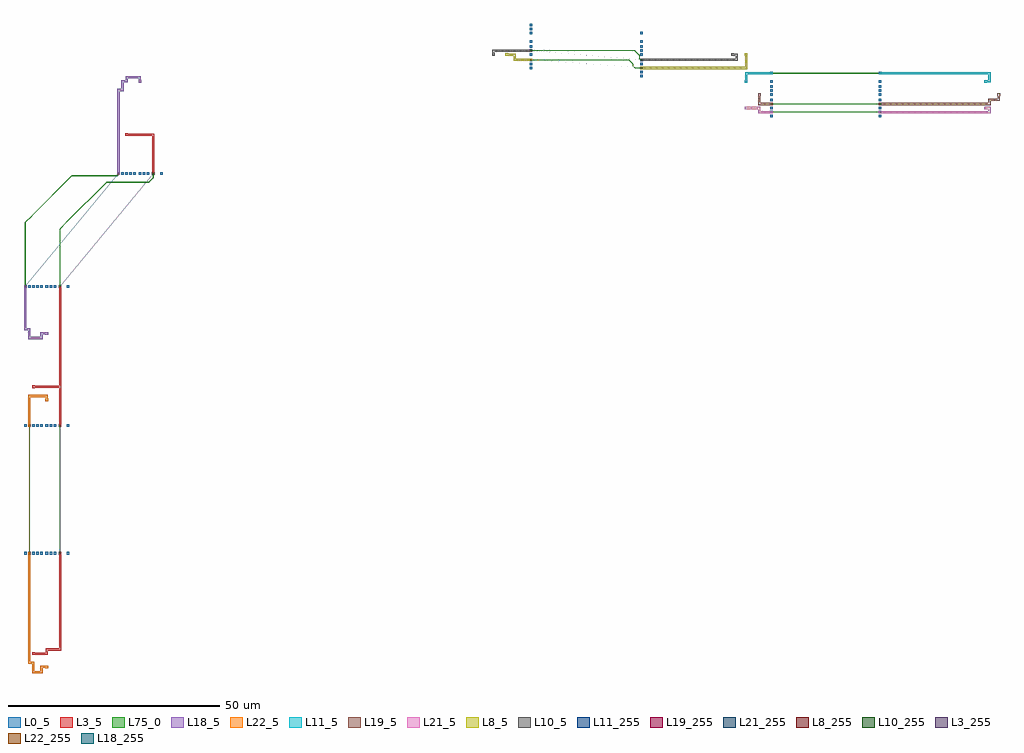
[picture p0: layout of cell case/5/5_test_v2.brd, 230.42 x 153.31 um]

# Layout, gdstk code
import gdstk
lib = gdstk.Library(unit=1e-6, precision=2.5e-10)
def R(c, l, rs):  # rectangles x0, y0, x1, y1
    for r in rs: c.add(gdstk.rectangle(r[:2], r[2:], *l))
def A(c, l, x, y, w, h, nx, ny, dx, dy):  # array of equal rectangles
    R(c, l, [(x+i*dx, y+j*dy, x+i*dx+w, y+j*dy+h) for i in range(nx) for j in range(ny)])
def P(c, l, *ps):  # polygons
    for p in ps: c.add(gdstk.Polygon(p, *l))
L0_5 = (0, 5)
L3_5 = (3, 5)
L3_255 = (3, 255)
L8_5 = (8, 5)
L8_255 = (8, 255)
L10_5 = (10, 5)
L10_255 = (10, 255)
L11_5 = (11, 5)
L11_255 = (11, 255)
L18_5 = (18, 5)
L18_255 = (18, 255)
L19_5 = (19, 5)
L19_255 = (19, 255)
L21_5 = (21, 5)
L21_255 = (21, 255)
L22_5 = (22, 5)
L22_255 = (22, 255)
L75_0 = (75, 0)

case_5_5_test_v2_brd = lib.new_cell('case/5/5_test_v2.brd')
R(case_5_5_test_v2_brd, L0_5, [(522.983,1470.593,523.583,1471.193), (522.983,1470.593,523.583,1471.193), (523.942,1470.593,524.542,1471.193), (523.942,1470.593,524.542,1471.193), (524.901,1470.593,525.501,1471.193), (524.901,1470.593,525.501,1471.193), (525.86,1470.593,526.46,1471.193), (525.86,1470.593,526.46,1471.193), (526.819,1470.593,527.419,1471.193), (526.819,1470.593,527.419,1471.193), (528.05,1470.593,528.65,1471.193), (528.05,1470.593,528.65,1471.193), (529.009,1470.593,529.609,1471.193), (529.009,1470.593,529.609,1471.193), (529.968,1470.593,530.568,1471.193), (529.968,1470.593,530.568,1471.193), (531.2,1470.593,531.8,1471.193), (531.2,1470.593,531.8,1471.193), (533.118,1470.593,533.718,1471.193), (533.118,1470.593,533.718,1471.193), (522.983,1500.725,523.583,1501.325), (522.983,1500.725,523.583,1501.325), (523.942,1500.725,524.542,1501.325), (523.942,1500.725,524.542,1501.325), (524.901,1500.725,525.501,1501.325), (524.901,1500.725,525.501,1501.325), (525.86,1500.725,526.46,1501.325), (525.86,1500.725,526.46,1501.325), (526.819,1500.725,527.419,1501.325), (526.819,1500.725,527.419,1501.325), (528.05,1500.725,528.65,1501.325), (528.05,1500.725,528.65,1501.325), (529.009,1500.725,529.609,1501.325), (529.009,1500.725,529.609,1501.325), (529.968,1500.725,530.568,1501.325), (529.968,1500.725,530.568,1501.325), (531.2,1500.725,531.8,1501.325), (531.2,1500.725,531.8,1501.325), (533.118,1500.725,533.718,1501.325), (533.118,1500.725,533.718,1501.325), (522.983,1533.593,523.583,1534.193), (522.983,1533.593,523.583,1534.193), (523.942,1533.593,524.542,1534.193), (523.942,1533.593,524.542,1534.193), (524.901,1533.593,525.501,1534.193), (524.901,1533.593,525.501,1534.193), (525.86,1533.593,526.46,1534.193), (525.86,1533.593,526.46,1534.193), (526.819,1533.593,527.419,1534.193), (526.819,1533.593,527.419,1534.193), (528.05,1533.593,528.65,1534.193), (528.05,1533.593,528.65,1534.193), (529.009,1533.593,529.609,1534.193), (529.009,1533.593,529.609,1534.193), (529.968,1533.593,530.568,1534.193), (529.968,1533.593,530.568,1534.193), (531.2,1533.593,531.8,1534.193), (531.2,1533.593,531.8,1534.193), (533.118,1533.593,533.718,1534.193), (533.118,1533.593,533.718,1534.193), (544.983,1560.225,545.583,1560.825), (544.983,1560.225,545.583,1560.825), (545.942,1560.225,546.542,1560.825), (545.942,1560.225,546.542,1560.825), (546.901,1560.225,547.501,1560.825), (546.901,1560.225,547.501,1560.825), (547.86,1560.225,548.46,1560.825), (547.86,1560.225,548.46,1560.825), (548.819,1560.225,549.419,1560.825), (548.819,1560.225,549.419,1560.825), (550.05,1560.225,550.65,1560.825), (550.05,1560.225,550.65,1560.825), (551.009,1560.225,551.609,1560.825), (551.009,1560.225,551.609,1560.825), (551.968,1560.225,552.568,1560.825), (551.968,1560.225,552.568,1560.825), (553.2,1560.225,553.8,1560.825), (553.2,1560.225,553.8,1560.825), (555.118,1560.225,555.718,1560.825), (555.118,1560.225,555.718,1560.825), (699.175,1573.782,699.775,1574.382), (699.175,1573.782,699.775,1574.382), (699.175,1573.782,699.775,1574.382), (724.725,1573.782,725.325,1574.382), (724.725,1573.782,725.325,1574.382), (724.725,1573.782,725.325,1574.382), (699.175,1574.741,699.775,1575.341), (699.175,1574.741,699.775,1575.341), (699.175,1574.741,699.775,1575.341), (724.725,1574.741,725.325,1575.341), (724.725,1574.741,725.325,1575.341), (724.725,1574.741,725.325,1575.341), (699.175,1575.7,699.775,1576.3), (699.175,1575.7,699.775,1576.3), (699.175,1575.7,699.775,1576.3), (724.725,1575.7,725.325,1576.3), (724.725,1575.7,725.325,1576.3), (724.725,1575.7,725.325,1576.3), (699.175,1576.659,699.775,1577.259), (699.175,1576.659,699.775,1577.259), (699.175,1576.659,699.775,1577.259), (724.725,1576.659,725.325,1577.259), (724.725,1576.659,725.325,1577.259), (724.725,1576.659,725.325,1577.259), (699.175,1577.618,699.775,1578.218), (699.175,1577.618,699.775,1578.218), (699.175,1577.618,699.775,1578.218), (724.725,1577.618,725.325,1578.218), (724.725,1577.618,725.325,1578.218), (724.725,1577.618,725.325,1578.218), (699.175,1578.85,699.775,1579.45), (699.175,1578.85,699.775,1579.45), (699.175,1578.85,699.775,1579.45), (724.725,1578.85,725.325,1579.45), (724.725,1578.85,725.325,1579.45), (724.725,1578.85,725.325,1579.45), (699.175,1579.809,699.775,1580.409), (699.175,1579.809,699.775,1580.409), (699.175,1579.809,699.775,1580.409), (724.725,1579.809,725.325,1580.409), (724.725,1579.809,725.325,1580.409), (724.725,1579.809,725.325,1580.409), (699.175,1580.768,699.775,1581.368), (699.175,1580.768,699.775,1581.368), (699.175,1580.768,699.775,1581.368), (724.725,1580.768,725.325,1581.368), (724.725,1580.768,725.325,1581.368), (724.725,1580.768,725.325,1581.368), (699.175,1581.999,699.775,1582.599), (699.175,1581.999,699.775,1582.599), (699.175,1581.999,699.775,1582.599), (724.725,1581.999,725.325,1582.599), (724.725,1581.999,725.325,1582.599), (724.725,1581.999,725.325,1582.599), (668.497,1583.231,669.097,1583.831), (668.497,1583.231,669.097,1583.831), (699.175,1583.917,699.775,1584.517), (699.175,1583.917,699.775,1584.517), (699.175,1583.917,699.775,1584.517), (724.725,1583.917,725.325,1584.517), (724.725,1583.917,725.325,1584.517), (724.725,1583.917,725.325,1584.517), (668.497,1584.19,669.097,1584.79), (668.497,1584.19,669.097,1584.79), (642.403,1585.149,643.003,1585.749), (642.403,1585.149,643.003,1585.749), (668.497,1585.149,669.097,1585.749), (668.497,1585.149,669.097,1585.749), (642.403,1586.108,643.003,1586.708), (642.403,1586.108,643.003,1586.708), (668.497,1586.108,669.097,1586.708), (668.497,1586.108,669.097,1586.708), (642.403,1587.067,643.003,1587.667), (642.403,1587.067,643.003,1587.667), (668.497,1587.067,669.097,1587.667), (668.497,1587.067,669.097,1587.667), (642.403,1588.298,643.003,1588.898), (642.403,1588.298,643.003,1588.898), (668.497,1588.298,669.097,1588.898), (668.497,1588.298,669.097,1588.898), (642.403,1589.257,643.003,1589.857), (642.403,1589.257,643.003,1589.857), (668.497,1589.257,669.097,1589.857), (668.497,1589.257,669.097,1589.857), (642.403,1590.216,643.003,1590.816), (642.403,1590.216,643.003,1590.816), (668.497,1590.216,669.097,1590.816), (668.497,1590.216,669.097,1590.816), (642.403,1591.448,643.003,1592.048), (642.403,1591.448,643.003,1592.048), (668.497,1591.448,669.097,1592.048), (668.497,1591.448,669.097,1592.048), (642.403,1593.366,643.003,1593.966), (642.403,1593.366,643.003,1593.966), (668.497,1593.366,669.097,1593.966), (668.497,1593.366,669.097,1593.966), (642.403,1594.325,643.003,1594.925), (642.403,1594.325,643.003,1594.925), (642.403,1595.284,643.003,1595.884), (642.403,1595.284,643.003,1595.884)])
A(case_5_5_test_v2_brd, L3_5, 531.25, 1447.91, 0.5, 1.459, 1, 11, 0, 0.959)
A(case_5_5_test_v2_brd, L3_5, 531.25, 1467.766, 0.5, 1.459, 1, 3, 0, 0.959)
A(case_5_5_test_v2_brd, L3_5, 531.25, 1500.775, 0.5, 1.459, 1, 5, 0, 0.959)
A(case_5_5_test_v2_brd, L3_5, 531.25, 1510.91, 0.5, 1.459, 1, 11, 0, 0.959)
A(case_5_5_test_v2_brd, L3_5, 531.25, 1530.766, 0.5, 1.459, 1, 3, 0, 0.959)
A(case_5_5_test_v2_brd, L3_5, 553.25, 1560.275, 0.5, 1.459, 1, 5, 0, 0.959)
R(case_5_5_test_v2_brd, L3_5, [(524.901,1446.901,525.501,1447.501), (524.951,1446.951,526.41,1447.451), (525.91,1446.951,527.369,1447.451), (526.869,1446.951,528.6,1447.451), (528.1,1446.951,528.6,1448.41), (528.1,1447.91,529.559,1448.41), (529.059,1447.91,530.518,1448.41), (530.018,1447.91,531.75,1448.41), (531.25,1458.459,531.75,1460.049), (531.25,1459.549,531.75,1461.008), (531.25,1460.508,531.75,1461.967), (531.25,1461.467,531.75,1463.199), (531.25,1462.699,531.75,1464.158), (531.25,1463.658,531.75,1465.117), (531.25,1464.617,531.75,1466.348), (531.25,1465.848,531.75,1468.266), (531.25,1505.57,531.75,1507.301), (531.25,1506.801,531.75,1508.26), (531.25,1507.76,531.75,1509.219), (531.25,1508.719,531.75,1510.451), (524.901,1509.901,525.501,1510.501), (524.901,1509.901,525.501,1510.501), (524.951,1509.951,526.41,1510.451), (525.91,1509.951,527.369,1510.451), (526.869,1509.951,528.6,1510.451), (528.1,1509.951,529.559,1510.451), (529.059,1509.951,530.518,1510.451), (530.018,1509.951,531.75,1510.451), (531.249,1509.951,531.749,1511.41), (531.25,1521.459,531.75,1523.049), (531.25,1522.549,531.75,1524.008), (531.25,1523.508,531.75,1524.967), (531.25,1524.467,531.75,1526.199), (531.25,1525.699,531.75,1527.158), (531.25,1526.658,531.75,1528.117), (531.25,1527.617,531.75,1529.348), (531.25,1528.848,531.75,1531.266), (553.25,1565.07,553.75,1566.801), (553.25,1566.301,553.75,1567.76), (553.25,1567.26,553.75,1568.719), (553.25,1568.219,553.75,1569.951), (546.901,1569.401,547.501,1570.001), (546.951,1569.451,548.41,1569.951), (547.91,1569.451,549.369,1569.951), (548.869,1569.451,550.6,1569.951), (550.1,1569.451,551.559,1569.951), (551.059,1569.451,552.518,1569.951), (552.018,1569.451,553.75,1569.951)])
P(case_5_5_test_v2_brd, L3_255, [(531.5,1533.893),(531.5,1533.893),(553.5,1560.525),(553.5,1560.525)],
  [(531.5,1470.893),(531.5,1501.025),(531.5,1501.025),(531.5,1470.893)])
A(case_5_5_test_v2_brd, L8_5, 668.547, 1585.199, 1.459, 0.5, 8, 1, 0.959, 0)
A(case_5_5_test_v2_brd, L8_5, 677.451, 1585.199, 1.459, 0.5, 12, 1, 0.959, 0)
A(case_5_5_test_v2_brd, L8_5, 638.617, 1587.117, 1.459, 0.5, 4, 1, 0.959, 0)
R(case_5_5_test_v2_brd, L8_5, [(676.219,1585.199,677.951,1585.699), (688.959,1585.199,690.549,1585.699), (690.049,1585.199,691.508,1585.699), (691.008,1585.199,692.467,1585.699), (691.967,1585.199,693.699,1585.699), (693.199,1585.199,693.699,1586.658), (693.199,1586.158,693.699,1587.617), (638.617,1587.117,639.117,1588.848), (693.199,1587.117,693.699,1588.848), (636.649,1588.298,637.249,1588.898), (693.149,1588.298,693.749,1588.898), (636.699,1588.348,639.117,1588.848)])
P(case_5_5_test_v2_brd, L8_255, [(668.797,1585.449),(668.797,1585.449),(642.703,1587.367),(642.703,1587.367)])
A(case_5_5_test_v2_brd, L10_5, 668.547, 1587.117, 1.459, 0.5, 8, 1, 0.959, 0)
A(case_5_5_test_v2_brd, L10_5, 677.451, 1587.117, 1.459, 0.5, 12, 1, 0.959, 0)
A(case_5_5_test_v2_brd, L10_5, 638.617, 1589.307, 1.459, 0.5, 4, 1, 0.959, 0)
R(case_5_5_test_v2_brd, L10_5, [(676.219,1587.117,677.951,1587.617), (688.959,1587.117,690.549,1587.617), (690.049,1587.117,691.508,1587.617), (691.008,1587.117,691.508,1588.848), (633.499,1588.298,634.099,1588.898), (689.999,1588.298,690.599,1588.898), (633.549,1588.348,634.049,1589.807), (690.049,1588.348,691.508,1588.848), (633.549,1589.307,635.008,1589.807), (634.508,1589.307,635.967,1589.807), (635.467,1589.307,637.199,1589.807), (636.699,1589.307,639.117,1589.807)])
P(case_5_5_test_v2_brd, L10_255, [(668.797,1587.367),(668.797,1587.367),(642.703,1589.557),(642.703,1589.557)])
A(case_5_5_test_v2_brd, L11_5, 724.775, 1583.967, 1.459, 0.5, 5, 1, 0.959, 0)
A(case_5_5_test_v2_brd, L11_5, 733.951, 1583.967, 1.459, 0.5, 12, 1, 0.959, 0)
R(case_5_5_test_v2_brd, L11_5, [(693.149,1581.999,693.749,1582.599), (749.649,1581.999,750.249,1582.599), (693.199,1582.049,693.699,1584.467), (749.699,1582.049,751.158,1582.549), (750.658,1582.049,751.158,1584.467), (693.199,1583.967,694.658,1584.467), (694.158,1583.967,695.617,1584.467), (695.117,1583.967,696.848,1584.467), (696.348,1583.967,698.766,1584.467), (698.266,1583.967,699.725,1584.467), (729.57,1583.967,731.301,1584.467), (730.801,1583.967,732.26,1584.467), (731.76,1583.967,733.219,1584.467), (732.719,1583.967,734.451,1584.467), (745.459,1583.967,747.049,1584.467), (746.549,1583.967,748.008,1584.467), (747.508,1583.967,748.967,1584.467), (748.467,1583.967,750.199,1584.467), (749.699,1583.967,751.158,1584.467)])
P(case_5_5_test_v2_brd, L11_255, [(699.475,1584.217),(699.475,1584.217),(725.025,1584.217),(725.025,1584.217)])
A(case_5_5_test_v2_brd, L18_5, 523.992, 1521.459, 1.459, 0.5, 3, 1, 0.959, 0)
A(case_5_5_test_v2_brd, L18_5, 523.033, 1530.766, 0.5, 1.459, 1, 3, 0, 0.959)
A(case_5_5_test_v2_brd, L18_5, 545.033, 1560.275, 0.5, 1.459, 1, 5, 0, 0.959)
A(case_5_5_test_v2_brd, L18_5, 545.033, 1569.451, 0.5, 1.459, 1, 11, 0, 0.959)
R(case_5_5_test_v2_brd, L18_5, [(523.992,1521.459,524.492,1523.049), (526.869,1521.459,527.369,1523.049), (528.05,1522.499,528.65,1523.099), (523.992,1522.549,524.492,1524.008), (526.869,1522.549,528.6,1523.049), (523.033,1523.508,524.492,1524.008), (523.033,1523.508,523.533,1524.967), (523.033,1524.467,523.533,1526.199), (523.033,1525.699,523.533,1527.158), (523.033,1526.658,523.533,1528.117), (523.033,1527.617,523.533,1529.348), (523.033,1528.848,523.533,1531.266), (545.033,1565.07,545.533,1566.801), (545.033,1566.301,545.533,1567.76), (545.033,1567.26,545.533,1568.719), (545.033,1568.219,545.533,1569.951), (545.033,1580,546.492,1580.5), (545.992,1580,546.492,1581.459), (545.992,1580.959,546.492,1582.549), (550.05,1581.999,550.65,1582.599), (545.992,1582.049,547.451,1582.549), (546.951,1582.049,547.451,1583.508), (550.1,1582.049,550.6,1583.508), (546.951,1583.008,548.41,1583.508), (547.91,1583.008,549.369,1583.508), (548.869,1583.008,550.6,1583.508)])
P(case_5_5_test_v2_brd, L18_255, [(523.283,1533.893),(523.283,1533.893),(545.283,1560.525),(545.283,1560.525)])
A(case_5_5_test_v2_brd, L19_5, 724.775, 1576.709, 1.459, 0.5, 5, 1, 0.959, 0)
A(case_5_5_test_v2_brd, L19_5, 733.951, 1576.709, 1.459, 0.5, 12, 1, 0.959, 0)
R(case_5_5_test_v2_brd, L19_5, [(696.348,1576.709,698.766,1577.209), (696.349,1576.709,696.849,1578.168), (698.266,1576.709,699.725,1577.209), (729.57,1576.709,731.301,1577.209), (730.801,1576.709,732.26,1577.209), (731.76,1576.709,733.219,1577.209), (732.719,1576.709,734.451,1577.209), (745.459,1576.709,747.049,1577.209), (746.549,1576.709,748.008,1577.209), (747.508,1576.709,748.967,1577.209), (748.467,1576.709,750.199,1577.209), (749.699,1576.709,751.158,1577.209), (750.658,1576.709,751.158,1578.168), (696.349,1577.668,696.849,1579.4), (750.658,1577.668,752.117,1578.168), (751.617,1577.668,753.348,1578.168), (752.848,1577.668,753.348,1579.4), (696.298,1578.85,696.898,1579.45), (752.798,1578.85,753.398,1579.45)])
P(case_5_5_test_v2_brd, L19_255, [(699.475,1576.959),(699.475,1576.959),(725.025,1576.959),(725.025,1576.959)])
A(case_5_5_test_v2_brd, L21_5, 724.775, 1574.791, 1.459, 0.5, 5, 1, 0.959, 0)
A(case_5_5_test_v2_brd, L21_5, 733.951, 1574.791, 1.459, 0.5, 12, 1, 0.959, 0)
R(case_5_5_test_v2_brd, L21_5, [(696.348,1574.791,696.848,1576.25), (696.348,1574.791,698.766,1575.291), (698.266,1574.791,699.725,1575.291), (729.57,1574.791,731.301,1575.291), (730.801,1574.791,732.26,1575.291), (731.76,1574.791,733.219,1575.291), (732.719,1574.791,734.451,1575.291), (745.459,1574.791,747.049,1575.291), (746.549,1574.791,748.008,1575.291), (747.508,1574.791,748.967,1575.291), (748.467,1574.791,750.199,1575.291), (749.699,1574.791,751.158,1575.291), (750.658,1574.791,751.158,1576.25), (693.149,1575.7,693.749,1576.3), (749.649,1575.7,750.249,1576.3), (693.199,1575.75,694.658,1576.25), (694.158,1575.75,695.617,1576.25), (695.117,1575.75,696.848,1576.25), (749.699,1575.75,751.158,1576.25)])
P(case_5_5_test_v2_brd, L21_255, [(699.475,1575.041),(699.475,1575.041),(725.025,1575.041),(725.025,1575.041)])
A(case_5_5_test_v2_brd, L22_5, 523.992, 1446.951, 0.5, 1.459, 1, 12, 0, 0.959)
A(case_5_5_test_v2_brd, L22_5, 523.992, 1467.766, 0.5, 1.459, 1, 3, 0, 0.959)
A(case_5_5_test_v2_brd, L22_5, 523.992, 1500.775, 0.5, 1.459, 1, 5, 0, 0.959)
A(case_5_5_test_v2_brd, L22_5, 523.992, 1507.76, 1.459, 0.5, 3, 1, 0.959, 0)
R(case_5_5_test_v2_brd, L22_5, [(524.951,1442.57,526.41,1443.07), (524.951,1442.57,525.451,1444.301), (525.91,1442.57,527.369,1443.07), (526.869,1442.57,527.369,1444.301), (528.05,1443.751,528.65,1444.351), (524.951,1443.801,525.451,1445.26), (526.869,1443.801,528.6,1444.301), (523.992,1444.76,525.451,1445.26), (523.992,1444.76,524.492,1446.219), (523.992,1445.719,524.492,1447.451), (523.992,1458.459,524.492,1460.049), (523.992,1459.549,524.492,1461.008), (523.992,1460.508,524.492,1461.967), (523.992,1461.467,524.492,1463.199), (523.992,1462.699,524.492,1464.158), (523.992,1463.658,524.492,1465.117), (523.992,1464.617,524.492,1466.348), (523.992,1465.848,524.492,1468.266), (523.992,1505.57,524.492,1507.301), (528.05,1506.751,528.65,1507.351), (523.992,1506.801,524.492,1508.26), (528.1,1506.801,528.6,1508.26), (526.869,1507.76,528.6,1508.26)])
P(case_5_5_test_v2_brd, L22_255, [(524.242,1470.893),(524.242,1501.025),(524.242,1501.025),(524.242,1470.893)])
case_5_5_test_v2_brd.add(gdstk.FlexPath([(699.475,1584.217),(699.475,1584.217)], 0.15, ends="round", simple_path=True, layer=75, datatype=0))  # L75_0
case_5_5_test_v2_brd.add(gdstk.FlexPath([(699.475,1584.217),(700.975,1584.217)], 0.15, ends="round", simple_path=True, layer=75, datatype=0))  # L75_0
case_5_5_test_v2_brd.add(gdstk.FlexPath([(700.975,1584.217),(725.025,1584.217)], 0.15, ends="round", simple_path=True, layer=75, datatype=0))  # L75_0
case_5_5_test_v2_brd.add(gdstk.FlexPath([(699.475,1576.959),(699.475,1576.959)], 0.15, ends="round", simple_path=True, layer=75, datatype=0))  # L75_0
case_5_5_test_v2_brd.add(gdstk.FlexPath([(699.475,1576.959),(700.975,1576.959)], 0.15, ends="round", simple_path=True, layer=75, datatype=0))  # L75_0
case_5_5_test_v2_brd.add(gdstk.FlexPath([(700.975,1576.959),(725.025,1576.959)], 0.15, ends="round", simple_path=True, layer=75, datatype=0))  # L75_0
case_5_5_test_v2_brd.add(gdstk.FlexPath([(699.475,1575.041),(700.975,1575.041)], 0.15, ends="round", simple_path=True, layer=75, datatype=0))  # L75_0
case_5_5_test_v2_brd.add(gdstk.FlexPath([(700.975,1575.041),(725.025,1575.041)], 0.15, ends="round", simple_path=True, layer=75, datatype=0))  # L75_0
case_5_5_test_v2_brd.add(gdstk.FlexPath([(642.703,1587.367),(644.203,1587.367)], 0.15, ends="round", simple_path=True, layer=75, datatype=0))  # L75_0
case_5_5_test_v2_brd.add(gdstk.FlexPath([(644.203,1587.367),(665.788,1587.367)], 0.15, ends="round", simple_path=True, layer=75, datatype=0))  # L75_0
case_5_5_test_v2_brd.add(gdstk.FlexPath([(666.747,1585.928),(666.747,1586.408)], 0.15, ends="round", simple_path=True, layer=75, datatype=0))  # L75_0
case_5_5_test_v2_brd.add(gdstk.FlexPath([(667.226,1585.449),(668.797,1585.449)], 0.15, ends="round", simple_path=True, layer=75, datatype=0))  # L75_0
case_5_5_test_v2_brd.add(gdstk.FlexPath([(642.703,1589.557),(644.203,1589.557)], 0.15, ends="round", simple_path=True, layer=75, datatype=0))  # L75_0
case_5_5_test_v2_brd.add(gdstk.FlexPath([(644.203,1589.557),(667.177,1589.557)], 0.15, ends="round", simple_path=True, layer=75, datatype=0))  # L75_0
case_5_5_test_v2_brd.add(gdstk.FlexPath([(668.272,1587.629),(668.272,1588.462)], 0.15, ends="round", simple_path=True, layer=75, datatype=0))  # L75_0
case_5_5_test_v2_brd.add(gdstk.FlexPath([(668.534,1587.367),(668.797,1587.367)], 0.15, ends="round", simple_path=True, layer=75, datatype=0))  # L75_0
case_5_5_test_v2_brd.add(gdstk.FlexPath([(531.5,1470.893),(531.5,1472.393)], 0.15, ends="round", simple_path=True, layer=75, datatype=0))  # L75_0
case_5_5_test_v2_brd.add(gdstk.FlexPath([(531.5,1472.393),(531.5,1501.025)], 0.15, ends="round", simple_path=True, layer=75, datatype=0))  # L75_0
case_5_5_test_v2_brd.add(gdstk.FlexPath([(524.242,1470.893),(524.242,1472.393)], 0.15, ends="round", simple_path=True, layer=75, datatype=0))  # L75_0
case_5_5_test_v2_brd.add(gdstk.FlexPath([(524.242,1472.393),(524.242,1501.025)], 0.15, ends="round", simple_path=True, layer=75, datatype=0))  # L75_0
case_5_5_test_v2_brd.add(gdstk.FlexPath([(531.5,1533.893),(531.5,1535.393)], 0.15, ends="round", simple_path=True, layer=75, datatype=0))  # L75_0
case_5_5_test_v2_brd.add(gdstk.FlexPath([(531.5,1535.393),(531.5,1547.475)], 0.15, ends="round", simple_path=True, layer=75, datatype=0))  # L75_0
case_5_5_test_v2_brd.add(gdstk.FlexPath([(542.5,1558.475),(544,1558.475)], 0.15, ends="round", simple_path=True, layer=75, datatype=0))  # L75_0
case_5_5_test_v2_brd.add(gdstk.FlexPath([(544,1558.475),(552.475,1558.475)], 0.15, ends="round", simple_path=True, layer=75, datatype=0))  # L75_0
case_5_5_test_v2_brd.add(gdstk.FlexPath([(553.5,1559.5),(553.5,1560.525)], 0.15, ends="round", simple_path=True, layer=75, datatype=0))  # L75_0
case_5_5_test_v2_brd.add(gdstk.FlexPath([(523.283,1533.893),(523.283,1535.393)], 0.15, ends="round", simple_path=True, layer=75, datatype=0))  # L75_0
case_5_5_test_v2_brd.add(gdstk.FlexPath([(523.283,1535.393),(523.283,1549)], 0.15, ends="round", simple_path=True, layer=75, datatype=0))  # L75_0
case_5_5_test_v2_brd.add(gdstk.FlexPath([(534.283,1560),(535.783,1560)], 0.15, ends="round", simple_path=True, layer=75, datatype=0))  # L75_0
case_5_5_test_v2_brd.add(gdstk.FlexPath([(535.783,1560),(545.02,1560)], 0.15, ends="round", simple_path=True, layer=75, datatype=0))  # L75_0
case_5_5_test_v2_brd.add(gdstk.FlexPath([(545.283,1560.262),(545.283,1560.525)], 0.15, ends="round", simple_path=True, layer=75, datatype=0))  # L75_0
case_5_5_test_v2_brd.add(gdstk.FlexPath([(666.747,1586.408),(665.788,1587.367)], 0.15, ends="round", simple_path=True, layer=75, datatype=0))  # L75_0
case_5_5_test_v2_brd.add(gdstk.FlexPath([(667.226,1585.449),(666.747,1585.928)], 0.15, ends="round", simple_path=True, layer=75, datatype=0))  # L75_0
case_5_5_test_v2_brd.add(gdstk.FlexPath([(668.272,1588.462),(667.177,1589.557)], 0.15, ends="round", simple_path=True, layer=75, datatype=0))  # L75_0
case_5_5_test_v2_brd.add(gdstk.FlexPath([(668.534,1587.367),(668.272,1587.629)], 0.15, ends="round", simple_path=True, layer=75, datatype=0))  # L75_0
case_5_5_test_v2_brd.add(gdstk.FlexPath([(531.5,1547.475),(533,1548.975)], 0.15, ends="round", simple_path=True, layer=75, datatype=0))  # L75_0
case_5_5_test_v2_brd.add(gdstk.FlexPath([(533,1548.975),(542.5,1558.475)], 0.15, ends="round", simple_path=True, layer=75, datatype=0))  # L75_0
case_5_5_test_v2_brd.add(gdstk.FlexPath([(552.475,1558.475),(553.5,1559.5)], 0.15, ends="round", simple_path=True, layer=75, datatype=0))  # L75_0
case_5_5_test_v2_brd.add(gdstk.FlexPath([(523.283,1549),(524.783,1550.5)], 0.15, ends="round", simple_path=True, layer=75, datatype=0))  # L75_0
case_5_5_test_v2_brd.add(gdstk.FlexPath([(524.783,1550.5),(534.283,1560)], 0.15, ends="round", simple_path=True, layer=75, datatype=0))  # L75_0
case_5_5_test_v2_brd.add(gdstk.FlexPath([(545.02,1560),(545.283,1560.262)], 0.15, ends="round", simple_path=True, layer=75, datatype=0))  # L75_0

lib.write_gds('case_5_5_test_v2.brd.gds')
